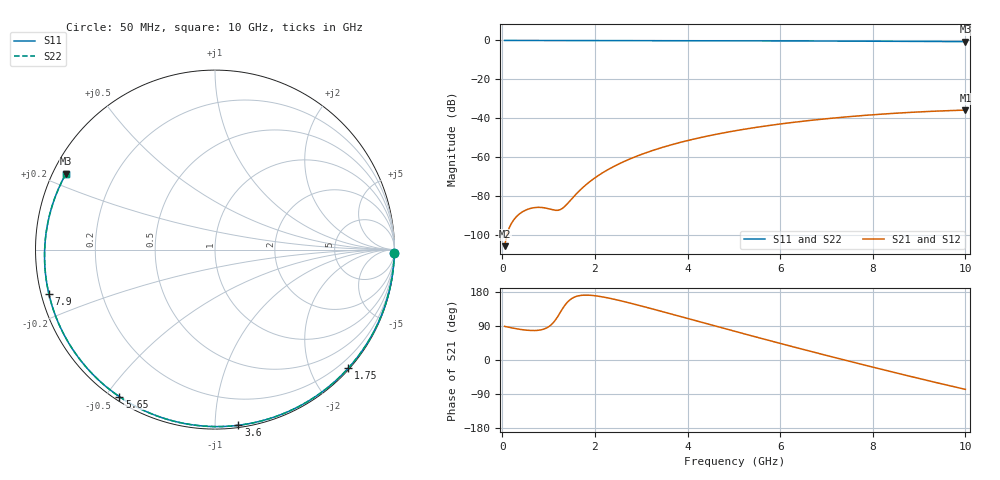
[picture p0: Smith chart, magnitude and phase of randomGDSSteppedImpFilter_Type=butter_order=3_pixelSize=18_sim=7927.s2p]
! freq	dB(S11)	phase(S11)	dB(S12)	phase(S12)
!  dB(S21)	phase(S21)	dB(S22)	phase(S22)
!S-par simulation data
#  GHz  S  DB  R 50
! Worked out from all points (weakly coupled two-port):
!   200 points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, 50 MHz to 10 GHz, reference 50 ohm
!   highest |S21| = -35.80 dB at 10 GHz (marker M1); lowest = -105.7 dB at 50 MHz (marker M2)
!   lowest |S11| = -0.6 dB at 10 GHz (marker M3), VSWR 28.39, Z = 1.86 + j12 ohm
!   |S11| at or under -10 dB: nowhere
!   |S22| runs from -0.6 to 0.0 dB; largest |S21 - S12| = 0
!   S11 on the Smith chart (normalised r, x): 50 MHz: 1, -97; 1.75 GHz: 0.02, -2.62; 3.6 GHz: 0.01, -1.14; 5.65 GHz: 0.01, -0.54; 7.9 GHz: 0.02, -0.13; 10 GHz: 0.04, +0.24
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0.05  -0.00 -1.2  -105.73 88.7  -105.73 88.7  -0.00 -1.2
0.45  -0.02 -10.9  -87.87 79.7  -87.87 79.7  -0.02 -10.9
0.8  -0.02 -19.3  -85.77 78.8  -85.77 78.8  -0.02 -19.3
1.55  -0.05 -37.1  -80.09 165.5  -80.09 165.5  -0.05 -37.1
1.75  -0.05 -41.7  -75.35 171.1  -75.35 171.1  -0.05 -41.7
2.05  -0.06 -48.6  -69.79 168.8  -69.79 168.8  -0.06 -48.6
2.25  -0.07 -53.1  -66.82 164.6  -66.82 164.6  -0.07 -53.1
2.45  -0.07 -57.6  -64.25 159.3  -64.25 159.3  -0.07 -57.6
2.9  -0.09 -67.5  -59.51 145.8  -59.51 145.8  -0.09 -67.5
3.4  -0.10 -78.2  -55.38 129.6  -55.38 129.6  -0.10 -78.2
3.6  -0.11 -82.4  -53.97 123.0  -53.97 123.0  -0.11 -82.4
4.3  -0.13 -96.8  -49.80 99.7  -49.80 99.7  -0.13 -96.7
5.05  -0.17 -111.6  -46.33 74.8  -46.33 74.8  -0.17 -111.5
5.65  -0.20 -123.1  -44.08 55.1  -44.08 55.1  -0.20 -123.0
6.2  -0.23 -133.4  -42.33 37.4  -42.33 37.4  -0.23 -133.4
6.7  -0.27 -142.7  -40.96 21.5  -40.96 21.5  -0.27 -142.7
7.3  -0.32 -153.9  -39.56 2.7  -39.56 2.7  -0.32 -153.8
7.9  -0.37 -165.2  -38.37 -15.8  -38.37 -15.8  -0.37 -165.1
8.35  -0.42 -173.7  -37.62 -29.4  -37.62 -29.4  -0.42 -173.6
8.8  -0.47 177.5  -36.98 -42.9  -36.98 -42.9  -0.47 177.6
9.2  -0.51 169.6  -36.50 -54.6  -36.50 -54.6  -0.51 169.7
10  -0.61 153.0  -35.80 -77.5  -35.80 -77.5  -0.61 153.1
